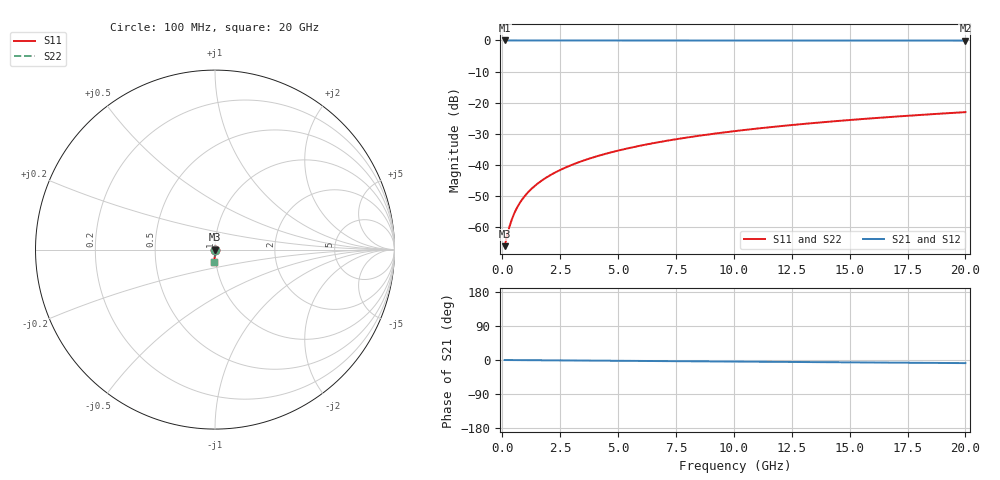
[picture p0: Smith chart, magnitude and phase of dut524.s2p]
! Touchstone file exported from HFSS 2026.1.0
!  File:  C:/ffzhzh/LocalFiles/Ansys_Project_Files/temp_train_TSV_524_1783023567_46388.aedt
!  Generated:  04:21:29 AM Jul  3, 2026
!  Design:  TSV
!  Project:  temp_train_TSV_524_1783023567_46388
! Variables:
!  h_bsmrdl = 2um
!  h_ox = 20um
!  h_rdl = 5um
!  h_sub = 78.27um
!  h_tmrdl = 5um
!  h_tsv = 78.27um
!  h_via = 3um
!  l_bsmrdl = 300um
!  l_sub = 409.82um
!  l_tmrdl = 200um
!  m_sub = 200um
!  pitch = 12.89um
!  r_tsv = 4.91um
!  s_tmrdl = 10um
!  w_bsmrdl = 18um
!  w_sub = 500um
!  w_tmrdl = 12um
!  x_tsv_center1 = 206um
!  x_tsv_center2 = 524um
!  x_tsv_center3 = 736um
!  x_tsv_center4 = 1054um
!  x_tsv_center5 = 1266um
!  x_tsv_center6 = 1584um
# GHz S MA R 50.000000
! Terminal data exported
! Port[1] = TSV1_1_T1
! Port[2] = TSV1_1_T2
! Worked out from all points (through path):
!   200 points, 100 MHz to 20 GHz, reference 50 ohm
!   highest |S21| = 0.00 dB at 100 MHz (marker M1); lowest = 0.0 dB at 20 GHz (marker M2)
!   group delay of S21, straight-line fit = 1.14 ps
!   lowest |S11| = -66.0 dB at 100 MHz (marker M3), VSWR 1.00, Z = 50 - j0.027 ohm
!   |S11| at or under -10 dB: start of sweep to end of sweep
!   |S22| runs from -66.0 to -23.0 dB; largest |S21 - S12| = 2.5e-15
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0.1  0.0004986 -32.7  0.9996 -0.0  0.9996 -0.0  0.0004986 -32.7
! Gamma 0 0 0 0
! Port Impedance 50 0 50 0
0.2  0.0007188 -50.7  0.9995 -0.1  0.9995 -0.1  0.0007188 -50.7
0.3  0.0009967 -60.0  0.9995 -0.1  0.9995 -0.1  0.0009967 -60.0
0.4  0.001302 -65.7  0.9995 -0.2  0.9995 -0.2  0.001302 -65.7
0.5  0.001621 -69.5  0.9994 -0.2  0.9994 -0.2  0.001621 -69.5
0.6  0.001948 -72.3  0.9994 -0.3  0.9994 -0.3  0.001948 -72.3
0.8  0.002609 -76.1  0.9993 -0.3  0.9993 -0.3  0.002609 -76.1
1.1  0.003609 -79.4  0.9993 -0.5  0.9993 -0.5  0.003609 -79.4
1.5  0.004949 -81.9  0.9992 -0.6  0.9992 -0.6  0.004949 -81.9
1.8  0.005959 -83.1  0.9992 -0.8  0.9992 -0.8  0.005959 -83.1
2.1  0.006974 -83.9  0.9991 -0.9  0.9991 -0.9  0.006974 -83.9
2.7  0.009021 -85.1  0.999 -1.1  0.999 -1.1  0.009021 -85.1
3.5  0.01178 -86.1  0.9988 -1.5  0.9988 -1.5  0.01178 -86.1
4.2  0.01423 -86.8  0.9987 -1.8  0.9987 -1.8  0.01423 -86.8
5  0.01705 -87.5  0.9985 -2.1  0.9985 -2.1  0.01705 -87.5
5.9  0.02024 -88.1  0.9983 -2.5  0.9983 -2.5  0.02024 -88.1
6.8  0.02345 -88.8  0.9981 -2.8  0.9981 -2.8  0.02345 -88.8
8.3  0.02882 -89.8  0.9977 -3.5  0.9977 -3.5  0.02882 -89.8
10.1  0.03527 -90.9  0.9973 -4.2  0.9973 -4.2  0.03527 -90.9
13.4  0.04709 -92.7  0.9965 -5.5  0.9965 -5.5  0.04709 -92.7
16.7  0.0589 -94.3  0.9956 -6.9  0.9956 -6.9  0.0589 -94.3
20  0.0707 -95.8  0.9945 -8.2  0.9945 -8.2  0.0707 -95.8
